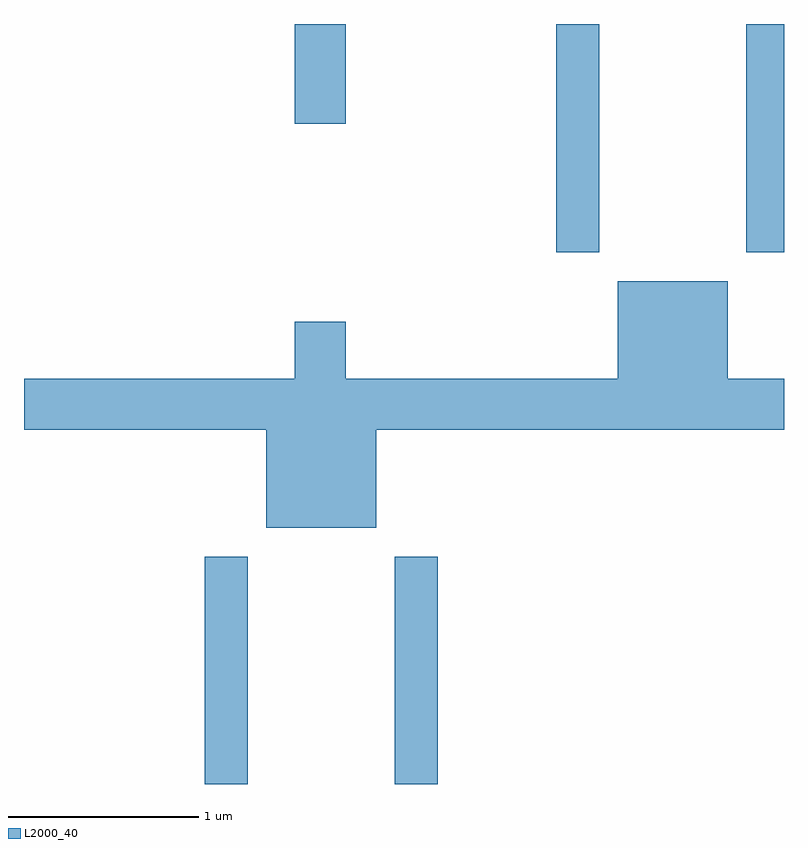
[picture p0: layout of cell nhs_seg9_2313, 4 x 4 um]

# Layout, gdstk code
import gdstk
lib = gdstk.Library(unit=1e-6, precision=1e-09)
def R(c, l, rs):  # rectangles x0, y0, x1, y1
    for r in rs: c.add(gdstk.rectangle(r[:2], r[2:], *l))
def P(c, l, *ps):  # polygons
    for p in ps: c.add(gdstk.Polygon(p, *l))
L2000_40 = (2000, 40)

nhs_seg9_2313 = lib.new_cell('nhs_seg9_2313')
R(nhs_seg9_2313, L2000_40, [(254.561,1954.432,254.789,1955.629), (255.561,1954.432,255.789,1955.629), (256.411,1957.231,256.639,1958.432), (257.411,1957.231,257.611,1958.432), (255.036,1957.906,255.304,1958.432)])
P(nhs_seg9_2313, L2000_40, [(255.464,1956.296),(257.611,1956.296),(257.611,1956.564),(257.314,1956.564),(257.314,1957.079),(256.736,1957.079),(256.736,1956.564),(255.304,1956.564),(255.304,1956.864),(255.036,1956.864),(255.036,1956.564),(253.611,1956.564),(253.611,1956.296),(254.886,1956.296),(254.886,1955.781),(255.464,1955.781)])

lib.write_gds('nhs_seg9_2313.gds')
